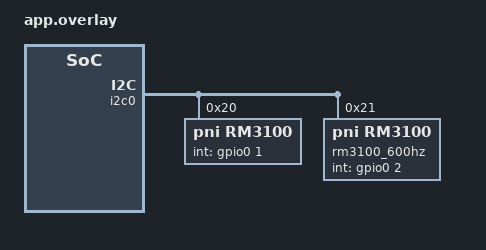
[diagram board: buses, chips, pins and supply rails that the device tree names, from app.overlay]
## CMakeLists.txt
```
# Copyright The Zephyr Project Contributors
# SPDX-License-Identifier: Apache-2.0

cmake_minimum_required(VERSION 3.28.0)
find_package(Zephyr REQUIRED HINTS $ENV{ZEPHYR_BASE})
project(rm3100)

target_include_directories(app PRIVATE ${ZEPHYR_BASE}/drivers/sensor/pni/rm3100)
target_sources(app PRIVATE src/main.c)
```

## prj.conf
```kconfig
# Copyright The Zephyr Project Contributors
# SPDX-License-Identifier: Apache-2.0

CONFIG_ZTEST=y
CONFIG_SENSOR=y
CONFIG_SENSOR_ASYNC_API=y
CONFIG_EMUL=y
CONFIG_GPIO=y
# No emulator backs the devices, only the encoding and the decoder are tested
CONFIG_SENSOR_LOG_LEVEL_OFF=y
```

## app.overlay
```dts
/*
 * Copyright The Zephyr Project Contributors
 *
 * SPDX-License-Identifier: Apache-2.0
 */

#include <zephyr/dt-bindings/gpio/gpio.h>
#include <zephyr/dt-bindings/sensor/rm3100.h>

&i2c0 {
	rm3100: rm3100@20 {
		compatible = "pni,rm3100";
		reg = <0x20>;
		int-gpios = <&gpio0 1 GPIO_ACTIVE_HIGH>;
	};

	rm3100_600hz: rm3100@21 {
		compatible = "pni,rm3100";
		reg = <0x21>;
		int-gpios = <&gpio0 2 GPIO_ACTIVE_HIGH>;
		odr = <RM3100_DT_ODR_600>;
	};
};
```

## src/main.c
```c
/*
 * Copyright The Zephyr Project Contributors
 *
 * SPDX-License-Identifier: Apache-2.0
 */

#include <string.h>

#include <zephyr/drivers/sensor.h>
#include <zephyr/drivers/sensor_clock.h>
#include <zephyr/sys/byteorder.h>
#include <zephyr/ztest.h>

#include "rm3100.h"
#include "rm3100_decoder.h"

/* Allowed error of a decoded value, in micro-Gauss: 1 LSB is 133 or 263 micro-Gauss */
#define TOLERANCE_UGAUSS 4

/* 75 LSB/uT at the default cycle count, 38 LSB/uT at the 600 Hz cycle count */
#define LSB_PER_GAUSS_DEFAULT  7500
#define LSB_PER_GAUSS_HIGH_ODR 3800

#define CHANNELS_XYZ (BIT(0) | BIT(1) | BIT(2))
#define TIMESTAMP_NS 123456789012ULL

#define RAW_MAX 8388607
#define RAW_MIN (-8388608)

static const struct sensor_decoder_api *decoder = SENSOR_DECODER_DT_GET(DT_NODELABEL(rm3100));

static const struct sensor_chan_spec chan_x = {SENSOR_CHAN_MAGN_X, 0};
static const struct sensor_chan_spec chan_y = {SENSOR_CHAN_MAGN_Y, 0};
static const struct sensor_chan_spec chan_z = {SENSOR_CHAN_MAGN_Z, 0};
static const struct sensor_chan_spec chan_xyz = {SENSOR_CHAN_MAGN_XYZ, 0};

static const struct sensor_chan_spec unsupported[] = {
	{SENSOR_CHAN_ALL, 0},
	{SENSOR_CHAN_ACCEL_XYZ, 0},
	{SENSOR_CHAN_MAGN_XYZ, 1},
	{SENSOR_CHAN_MAGN_X, 1},
};

static struct rm3100_encoded_data edata;
static const uint8_t *const buffer = (const uint8_t *)&edata;

static void fill(uint8_t channels, uint16_t cycle_count, int32_t x, int32_t y, int32_t z)
{
	memset(&edata, 0, sizeof(edata));
	edata.header.timestamp = TIMESTAMP_NS;
	edata.header.channels = channels;
	edata.header.cycle_count = cycle_count;
	sys_put_be24((uint32_t)x, &edata.payload[0]);
	sys_put_be24((uint32_t)y, &edata.payload[3]);
	sys_put_be24((uint32_t)z, &edata.payload[6]);
}

static void check_value(q31_t value, int8_t shift, int32_t raw, int32_t lsb_per_gauss)
{
	int64_t expected = (int64_t)raw * 1000000 / lsb_per_gauss;
	int64_t actual = ((int64_t)value * 1000000) >> (31 - shift);

	zassert_within(actual, expected, TOLERANCE_UGAUSS, "raw %d: got %lld, expected %lld", raw,
		       actual, expected);
}

static void check_frame_count(struct sensor_chan_spec chan, int expected_rc)
{
	uint16_t frame_count = 0;

	zassert_equal(decoder->get_frame_count(buffer, chan, &frame_count), expected_rc,
		      "channel %d", chan.chan_type);
	if (expected_rc == 0) {
		zassert_equal(frame_count, 1);
	}
}

static void check_xyz(int8_t shift, const int32_t raw[3], int32_t lsb_per_gauss)
{
	struct sensor_three_axis_data out;
	uint32_t fit = 0;

	check_frame_count(chan_xyz, 0);

	/* All readings in one call */
	memset(&out, 0xaa, sizeof(out));
	zassert_equal(decoder->decode(buffer, chan_xyz, &fit, 4, &out), 1);
	zassert_equal(out.header.reading_count, 1);
	zassert_equal(out.header.base_timestamp_ns, TIMESTAMP_NS);
	zassert_equal(out.readings[0].timestamp_delta, 0);
	zassert_equal(out.shift, shift);
	for (int i = 0; i < 3; i++) {
		check_value(out.readings[0].values[i], out.shift, raw[i], lsb_per_gauss);
	}
	zassert_equal(decoder->decode(buffer, chan_xyz, &fit, 4, &out), 0);

	/* One reading per call */
	fit = 0;
	memset(&out, 0xaa, sizeof(out));
	zassert_equal(decoder->decode(buffer, chan_xyz, &fit, 1, &out), 1);
	zassert_equal(out.header.base_timestamp_ns + out.readings[0].timestamp_delta, TIMESTAMP_NS);
	check_value(out.readings[0].z, out.shift, raw[2], lsb_per_gauss);
	zassert_equal(decoder->decode(buffer, chan_xyz, &fit, 1, &out), 0);
}

static void check_axes(int8_t shift, const int32_t raw[3], int32_t lsb_per_gauss)
{
	const struct sensor_chan_spec axes[] = {chan_x, chan_y, chan_z};

	for (int i = 0; i < ARRAY_SIZE(axes); i++) {
		struct sensor_q31_data out;
		uint32_t fit = 0;

		check_frame_count(axes[i], 0);

		memset(&out, 0xaa, sizeof(out));
		zassert_equal(decoder->decode(buffer, axes[i], &fit, 1, &out), 1);
		zassert_equal(out.header.reading_count, 1);
		zassert_equal(out.header.base_timestamp_ns, TIMESTAMP_NS);
		zassert_equal(out.readings[0].timestamp_delta, 0);
		zassert_equal(out.shift, shift);
		check_value(out.readings[0].value, out.shift, raw[i], lsb_per_gauss);
		zassert_equal(decoder->decode(buffer, axes[i], &fit, 1, &out), 0);
	}
}

static void check_no_data(struct sensor_chan_spec chan)
{
	struct sensor_three_axis_data out;
	uint32_t fit = 0;

	check_frame_count(chan, -ENODATA);
	zassert_equal(decoder->decode(buffer, chan, &fit, 1, &out), -ENODATA);
}

ZTEST(rm3100_decoder, test_size_info)
{
	size_t base_size;
	size_t frame_size;

	zassert_ok(decoder->get_size_info(chan_xyz, &base_size, &frame_size));
	zassert_equal(base_size, sizeof(struct sensor_three_axis_data));
	zassert_equal(frame_size, sizeof(struct sensor_three_axis_sample_data));

	zassert_ok(decoder->get_size_info(chan_y, &base_size, &frame_size));
	zassert_equal(base_size, sizeof(struct sensor_q31_data));
	zassert_equal(frame_size, sizeof(struct sensor_q31_sample_data));

	for (int i = 0; i < ARRAY_SIZE(unsupported); i++) {
		zassert_equal(decoder->get_size_info(unsupported[i], &base_size, &frame_size),
			      -ENOTSUP);
	}
}

ZTEST(rm3100_decoder, test_default_cycle_count)
{
	const int32_t raw[3] = {LSB_PER_GAUSS_DEFAULT, RAW_MIN, RAW_MAX};

	fill(CHANNELS_XYZ, RM3100_CYCLE_COUNT_DEFAULT, raw[0], raw[1], raw[2]);

	check_xyz(11, raw, LSB_PER_GAUSS_DEFAULT);
	check_axes(11, raw, LSB_PER_GAUSS_DEFAULT);
	zassert_false(decoder->has_trigger(buffer, SENSOR_TRIG_DATA_READY));
}

ZTEST(rm3100_decoder, test_high_odr_cycle_count)
{
	const int32_t raw[3] = {-12345, RAW_MAX, -LSB_PER_GAUSS_HIGH_ODR};

	fill(CHANNELS_XYZ, RM3100_CYCLE_COUNT_HIGH_ODR, raw[0], raw[1], raw[2]);

	check_xyz(12, raw, LSB_PER_GAUSS_HIGH_ODR);
	check_axes(12, raw, LSB_PER_GAUSS_HIGH_ODR);
}

ZTEST(rm3100_decoder, test_channel_subset)
{
	struct sensor_q31_data out;
	uint32_t fit = 0;

	/* One-shot read of SENSOR_CHAN_MAGN_X only */
	fill(BIT(0), RM3100_CYCLE_COUNT_DEFAULT, 75, 0, 0);

	check_frame_count(chan_x, 0);
	zassert_equal(decoder->decode(buffer, chan_x, &fit, 1, &out), 1);
	check_value(out.readings[0].value, out.shift, 75, LSB_PER_GAUSS_DEFAULT);

	check_no_data(chan_y);
	check_no_data(chan_z);
	check_no_data(chan_xyz);

	fill(BIT(1) | BIT(2), RM3100_CYCLE_COUNT_DEFAULT, 0, 0, 0);
	check_frame_count(chan_z, 0);
	check_no_data(chan_x);
	check_no_data(chan_xyz);
}

ZTEST(rm3100_decoder, test_stream)
{
	const int32_t raw[3] = {1, -1, 0};

	fill(CHANNELS_XYZ, RM3100_CYCLE_COUNT_DEFAULT, raw[0], raw[1], raw[2]);
	edata.header.status = BIT(7);
	edata.header.events.drdy = true;

	zassert_true(decoder->has_trigger(buffer, SENSOR_TRIG_DATA_READY));
	zassert_false(decoder->has_trigger(buffer, SENSOR_TRIG_FIFO_WATERMARK));
	check_xyz(11, raw, LSB_PER_GAUSS_DEFAULT);

	/* SENSOR_STREAM_DATA_DROP or _NOP: the data is not reported */
	edata.header.channels = 0;
	zassert_true(decoder->has_trigger(buffer, SENSOR_TRIG_DATA_READY));
	check_no_data(chan_x);
	check_no_data(chan_y);
	check_no_data(chan_z);
	check_no_data(chan_xyz);
}

ZTEST(rm3100_decoder, test_unsupported)
{
	struct sensor_three_axis_data out;

	fill(CHANNELS_XYZ, RM3100_CYCLE_COUNT_DEFAULT, 0, 0, 0);

	for (int i = 0; i < ARRAY_SIZE(unsupported); i++) {
		uint16_t frame_count;
		uint32_t fit = 0;

		zassert_equal(decoder->get_frame_count(buffer, unsupported[i], &frame_count),
			      -ENOTSUP);
		zassert_equal(decoder->decode(buffer, unsupported[i], &fit, 1, &out), -ENOTSUP);
	}
}

static uint64_t clock_now_ns(void)
{
	uint64_t cycles;

	zassert_ok(sensor_clock_get_cycles(&cycles));

	return sensor_clock_cycles_to_ns(cycles);
}

static void check_encode(const struct device *dev, const struct sensor_chan_spec *chans,
			 size_t num_chans, uint8_t channels, uint16_t cycle_count)
{
	uint64_t before = clock_now_ns();

	/* The encoding does not rely on a zeroed buffer */
	memset(&edata, 0xff, sizeof(edata));

	zassert_ok(rm3100_encode(dev, chans, num_chans, (uint8_t *)&edata));
	zassert_equal(edata.header.channels, channels);
	zassert_equal(edata.header.cycle_count, cycle_count);
	zassert_equal(edata.header.status, 0);
	zassert_false(decoder->has_trigger(buffer, SENSOR_TRIG_DATA_READY));
	zassert_true(edata.header.timestamp >= before);
	zassert_true(edata.header.timestamp <= clock_now_ns());
}

ZTEST(rm3100_decoder, test_encode)
{
	const struct sensor_chan_spec xy[] = {chan_x, chan_y};
	const struct sensor_chan_spec all = {SENSOR_CHAN_ALL, 0};

	check_encode(DEVICE_DT_GET(DT_NODELABEL(rm3100)), &chan_xyz, 1, CHANNELS_XYZ,
		     RM3100_CYCLE_COUNT_DEFAULT);
	check_encode(DEVICE_DT_GET(DT_NODELABEL(rm3100)), xy, ARRAY_SIZE(xy), BIT(0) | BIT(1),
		     RM3100_CYCLE_COUNT_DEFAULT);
	check_encode(DEVICE_DT_GET(DT_NODELABEL(rm3100_600hz)), &all, 1, CHANNELS_XYZ,
		     RM3100_CYCLE_COUNT_HIGH_ODR);
	check_encode(DEVICE_DT_GET(DT_NODELABEL(rm3100_600hz)), &chan_z, 1, BIT(2),
		     RM3100_CYCLE_COUNT_HIGH_ODR);
}

ZTEST_SUITE(rm3100_decoder, NULL, NULL, NULL, NULL, NULL);
```
